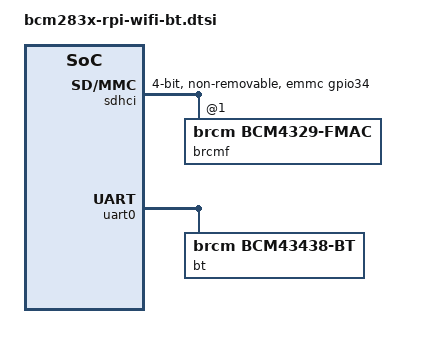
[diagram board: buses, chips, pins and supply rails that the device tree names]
// SPDX-License-Identifier: GPL-2.0

/ {
	wifi_pwrseq: wifi-pwrseq {
		compatible = "mmc-pwrseq-simple";
	};
};

/* SDHCI is used to control the SDIO for wireless */
&sdhci {
	#address-cells = <1>;
	#size-cells = <0>;
	pinctrl-names = "default";
	pinctrl-0 = <&emmc_gpio34>;
	bus-width = <4>;
	non-removable;
	mmc-pwrseq = <&wifi_pwrseq>;
	status = "okay";

	brcmf: wifi@1 {
		reg = <1>;
		compatible = "brcm,bcm4329-fmac";
	};
};

/* uart0 communicates with the BT module */
&uart0 {
	status = "okay";

	bt: bluetooth {
		compatible = "brcm,bcm43438-bt";
		max-speed = <2000000>;
	};
};
